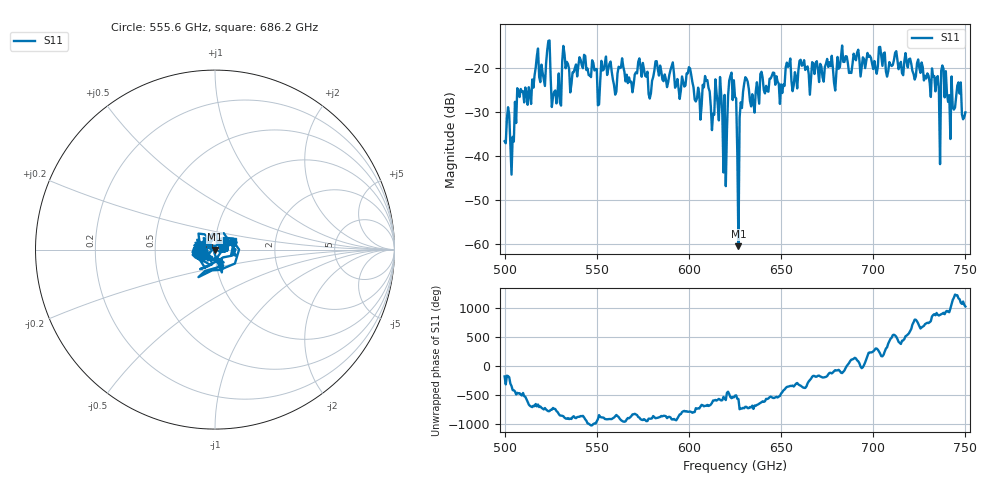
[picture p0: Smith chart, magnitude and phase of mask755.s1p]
!Created with skrf (http://scikit-rf.org).
# GHz S MA R 50.0
!freq magS11 angS11
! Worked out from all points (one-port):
!   401 points, 500 GHz to 750 GHz, reference 50 ohm
!   lowest |S11| = -60.5 dB at 626.9 GHz (marker M1), VSWR 1.00, Z = 49.9 + j0.0453 ohm
!   |S11| at or under -10 dB: start of sweep to end of sweep
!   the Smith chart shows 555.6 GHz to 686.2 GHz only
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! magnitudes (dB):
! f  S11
! 500 GHz  -36.7
! 504.4 GHz  -35.7
! 508.1 GHz  -26.7
! 513.1 GHz  -24.4
! 517.5 GHz  -17.3
! 523.8 GHz  -13.9
! 526.9 GHz  -25.5
! 531.2 GHz  -18.5
! 560 GHz  -26.1
! 562.5 GHz  -20.1
! 593.8 GHz  -22.6
! 610 GHz  -22.8
! 612.5 GHz  -34.2
! 616.2 GHz  -32.0
! 619.4 GHz  -26.2
! 622.5 GHz  -21.9
! 625 GHz  -26.7
! 626.9 GHz  -60.5
! 630.6 GHz  -22.1
! 634.4 GHz  -26.0
! 656.2 GHz  -25.3
! 687.5 GHz  -21.0
! 718.8 GHz  -19.9
! 735 GHz  -21.9
! 738.1 GHz  -20.2
! 743.1 GHz  -29.0
! 746.2 GHz  -23.3
! 750 GHz  -30.1
